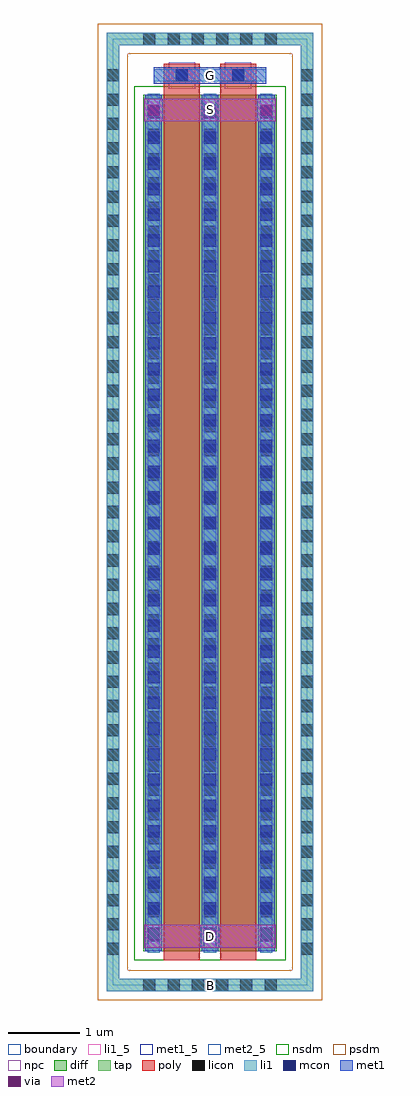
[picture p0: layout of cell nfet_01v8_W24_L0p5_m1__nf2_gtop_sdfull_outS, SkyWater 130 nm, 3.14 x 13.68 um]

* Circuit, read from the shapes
.subckt nfet_01v8_W24_L0p5_m1__nf2_gtop_sdfull_outS B D G S
XM1 D G S B sky130_fd_pr__nfet_01v8 w=12 l=0.5 m=2
.ends

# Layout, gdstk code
import gdstk
lib = gdstk.Library(unit=1e-6, precision=1e-09)
def R(c, l, rs):  # rectangles x0, y0, x1, y1
    for r in rs: c.add(gdstk.rectangle(r[:2], r[2:], *l))
def A(c, l, x, y, w, h, nx, ny, dx, dy):  # array of equal rectangles
    R(c, l, [(x+i*dx, y+j*dy, x+i*dx+w, y+j*dy+h) for i in range(nx) for j in range(ny)])
diff = (65, 20)
tap = (65, 44)
poly = (66, 20)
licon = (66, 44)
li1_5 = (67, 5)
li1 = (67, 20)
mcon = (67, 44)
met1_5 = (68, 5)
met1 = (68, 20)
via = (68, 44)
met2_5 = (69, 5)
met2 = (69, 20)
nsdm = (93, 44)
psdm = (94, 20)
npc = (95, 20)
boundary = (235, 4)

sky130_fd_pr__nfet_01v8_ = lib.new_cell('sky130_fd_pr__nfet_01v8_CQMSNV')
R(sky130_fd_pr__nfet_01v8_, diff, [(-0.935,-6.155,0.935,5.845)])
R(sky130_fd_pr__nfet_01v8_, tap, [(-1.445,-6.715,1.445,-6.545), (-1.445,-6.545,-1.275,6.545), (1.275,-6.545,1.445,6.545), (-1.445,6.545,1.445,6.715)])
R(sky130_fd_pr__nfet_01v8_, poly, [(-0.645,-6.285,-0.145,6.285), (0.145,-6.285,0.645,6.285)])
A(sky130_fd_pr__nfet_01v8_, licon, -0.935, -6.715, 0.17, 0.17, 6, 2, 0.34, 13.26)
A(sky130_fd_pr__nfet_01v8_, licon, -1.445, -6.205, 0.17, 0.17, 1, 37, 0, 0.34)
A(sky130_fd_pr__nfet_01v8_, licon, 1.275, -6.205, 0.17, 0.17, 1, 37, 0, 0.34)
A(sky130_fd_pr__nfet_01v8_, licon, -0.875, -6.02, 0.17, 0.17, 3, 35, 0.79, 0.34)
R(sky130_fd_pr__nfet_01v8_, licon, [(-0.48,6.035,-0.31,6.205), (0.31,6.035,0.48,6.205)])
A(sky130_fd_pr__nfet_01v8_, li1, -0.875, -6.175, 0.17, 12.04, 3, 1, 0.79, 0)
R(sky130_fd_pr__nfet_01v8_, li1, [(-1.445,-6.715,1.445,-6.545), (-1.445,-6.545,-1.275,6.545), (1.275,-6.545,1.445,6.545), (-0.79,6.035,0.79,6.205), (-1.445,6.545,1.445,6.715)])
A(sky130_fd_pr__nfet_01v8_, mcon, -0.875, -6, 0.17, 0.17, 3, 33, 0.79, 0.36)
R(sky130_fd_pr__nfet_01v8_, mcon, [(-0.48,6.035,-0.31,6.205), (0.31,6.035,0.48,6.205)])
A(sky130_fd_pr__nfet_01v8_, met1, -0.905, -6.155, 0.23, 12, 3, 1, 0.79, 0)
R(sky130_fd_pr__nfet_01v8_, met1, [(-0.625,6.005,-0.165,6.035), (0.165,6.005,0.625,6.035), (-0.79,6.035,0.79,6.205), (-0.625,6.205,-0.165,6.235), (0.165,6.205,0.625,6.235)])
R(sky130_fd_pr__nfet_01v8_, nsdm, [(-1.06,-6.28,1.06,5.97)])
R(sky130_fd_pr__nfet_01v8_, psdm, [(-1.57,-6.84,1.57,-6.42), (-1.57,-6.42,-1.15,6.42), (1.15,-6.42,1.57,6.42), (-1.57,6.42,1.57,6.84)])
R(sky130_fd_pr__nfet_01v8_, npc, [(-0.58,5.935,-0.21,6.305), (0.21,5.935,0.58,6.305)])
R(sky130_fd_pr__nfet_01v8_, boundary, [(-1.36,-6.63,1.36,6.63)])
sky130_fd_pr__nfet_01v8_.add(gdstk.Label('B', (0,-6.63), layer=67, texttype=5))
sky130_fd_pr__nfet_01v8_.add(gdstk.Label('D0', (-0.79,-0.155), layer=67, texttype=5))
sky130_fd_pr__nfet_01v8_.add(gdstk.Label('G', (0.395,6.12), layer=67, texttype=5))
sky130_fd_pr__nfet_01v8_.add(gdstk.Label('G', (-0.395,6.12), layer=67, texttype=5))
sky130_fd_pr__nfet_01v8_.add(gdstk.Label('S1', (0,-0.155), layer=67, texttype=5))

nfet_01v8_w24_l0p5_m1__n = lib.new_cell('nfet_01v8_W24_L0p5_m1__nf2_gtop_sdfull_outS')
R(nfet_01v8_w24_l0p5_m1__n, li1_5, [(1.275,-0.085,1.445,0.085)])
R(nfet_01v8_w24_l0p5_m1__n, li1, [(1.275,-0.085,1.445,0.085)])
R(nfet_01v8_w24_l0p5_m1__n, met1_5, [(0.57,12.635,2.15,12.865)])
R(nfet_01v8_w24_l0p5_m1__n, met1, [(1.23,0.525,1.49,0.845), (0.44,12.105,0.7,12.425), (2.02,12.105,2.28,12.425), (0.57,12.635,2.15,12.865)])
R(nfet_01v8_w24_l0p5_m1__n, via, [(1.285,0.61,1.435,0.76), (0.495,12.19,0.645,12.34), (2.075,12.19,2.225,12.34)])
R(nfet_01v8_w24_l0p5_m1__n, met2_5, [(0.435,0.525,2.285,0.845), (0.435,12.105,2.285,12.425)])
R(nfet_01v8_w24_l0p5_m1__n, met2, [(0.435,0.525,2.285,0.845), (0.435,12.105,2.285,12.425)])
nfet_01v8_w24_l0p5_m1__n.add(gdstk.Reference(sky130_fd_pr__nfet_01v8_, (1.36,6.63)))
nfet_01v8_w24_l0p5_m1__n.add(gdstk.Label('S', (1.36,12.265), layer=69, texttype=5))
nfet_01v8_w24_l0p5_m1__n.add(gdstk.Label('D', (1.36,0.685), layer=69, texttype=5))
nfet_01v8_w24_l0p5_m1__n.add(gdstk.Label('G', (1.36,12.75), layer=68, texttype=5))
nfet_01v8_w24_l0p5_m1__n.add(gdstk.Label('B', (1.36,0), layer=67, texttype=5))

lib.write_gds('nfet_01v8_W24_L0p5_m1__nf2_gtop_sdfull_outS.gds')
